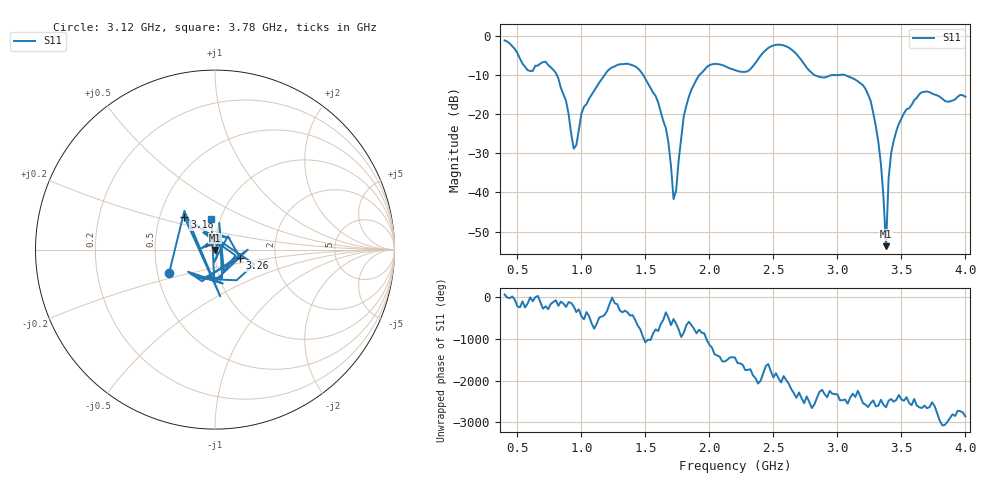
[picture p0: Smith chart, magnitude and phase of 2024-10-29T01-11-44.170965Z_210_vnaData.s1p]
!Created with skrf (http://scikit-rf.org).
# Hz S RI R 50.0
!freq ReS11 ImS11
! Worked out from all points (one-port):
!   181 points, 400 MHz to 4 GHz, reference 50 ohm
!   lowest |S11| = -53.7 dB at 3.38 GHz (marker M1), VSWR 1.00, Z = 49.9 - j0.181 ohm
!   |S11| at or under -10 dB: 807.4 MHz to 1.182 GHz (374.2 MHz wide, 37.6 % of centre); 1.483 GHz to 1.921 GHz (438.4 MHz wide, 25.8 % of centre); 3.056 GHz to end of sweep (the widest 3 of 4)
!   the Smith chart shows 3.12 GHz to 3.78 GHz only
!   S11 on the Smith chart (normalised r, x): 3.12 GHz: 0.58, -0.16; 3.18 GHz: 0.67, +0.26; 3.26 GHz: 1.32, -0.12; 3.78 GHz: 0.90, +0.32
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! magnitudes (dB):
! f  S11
! 400 MHz  -1.2
! 580 MHz  -8.8
! 720 MHz  -6.6
! 860 MHz  -15.0
! 940 MHz  -28.8
! 1.02 GHz  -18.1
! 1.3 GHz  -7.3
! 1.58 GHz  -15.4
! 1.66 GHz  -23.6
! 1.72 GHz  -41.7
! 1.76 GHz  -31.8
! 1.8 GHz  -20.5
! 1.92 GHz  -10.0
! 2.2 GHz  -8.8
! 2.5 GHz  -2.5
! 2.66 GHz  -4.0
! 2.82 GHz  -10.0
! 3.1 GHz  -10.6
! 3.12 GHz  -10.9
! 3.18 GHz  -12.1
! 3.26 GHz  -16.6
! 3.34 GHz  -32.7
! 3.38 GHz  -53.7
! 3.4 GHz  -36.4
! 3.42 GHz  -30.0
! 3.56 GHz  -18.5
! 3.78 GHz  -15.2
! 4 GHz  -15.6
